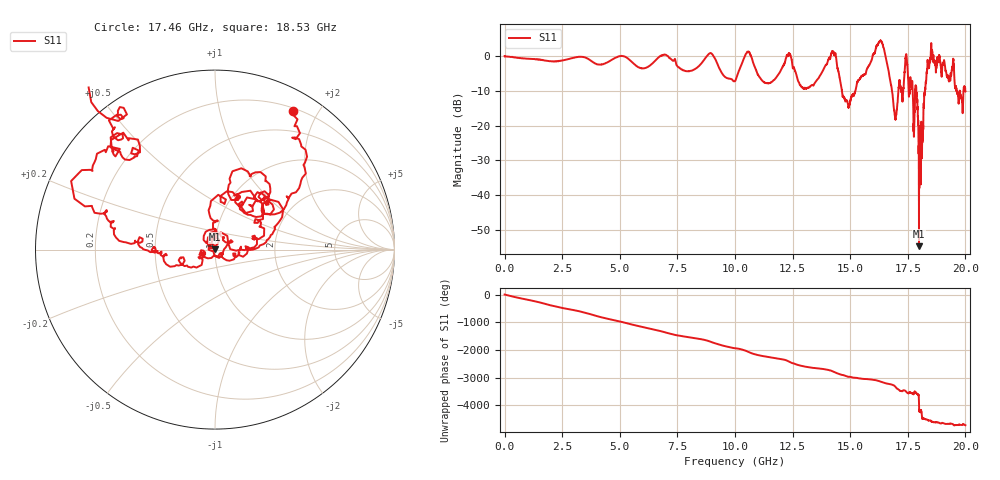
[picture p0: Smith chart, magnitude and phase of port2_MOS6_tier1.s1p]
! Created with skrf 1.8.0 (http://scikit-rf.org).
# GHz S RI R 50.0
!freq ReS11 ImS11
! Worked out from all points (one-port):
!   10000 points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, 3 MHz to 20 GHz, reference 50 ohm
!   lowest |S11| = -54.7 dB at 17.99 GHz (marker M1), VSWR 1.00, Z = 50.1 + j0.175 ohm
!   |S11| at or under -10 dB: 14.64 GHz to 15.23 GHz (583.7 MHz wide, 3.91 % of centre); 16.82 GHz to 17.09 GHz (275.7 MHz wide, 1.63 % of centre); 17.87 GHz to 18.24 GHz (373.6 MHz wide, 2.07 % of centre) (the widest 3 of 18)
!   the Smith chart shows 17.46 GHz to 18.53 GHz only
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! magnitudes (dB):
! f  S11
! 3 MHz  0.0
! 2.503 GHz  -1.2
! 5.003 GHz  0.1
! 7.503 GHz  -2.9
! 8.131 GHz  -4.1
! 8.947 GHz  0.9
! 10 GHz  -7.2
! 10.55 GHz  1.3
! 11.36 GHz  -7.8
! 12.3 GHz  0.2
! 12.5 GHz  -3.1
! 13.14 GHz  -9.1
! 14.28 GHz  1.2
! 14.71 GHz  -11.6
! 15 GHz  -12.8
! 16.28 GHz  4.3
! 16.54 GHz  -0.1
! 16.95 GHz  -18.0
! 17.4 GHz  -0.6
! 17.5 GHz  -4.7
! 17.88 GHz  -11.5
! 17.99 GHz  -54.7
! 18.07 GHz  -27.1
! 18.3 GHz  -6.3
! 18.54 GHz  1.7
! 19.44 GHz  -3.2
! 19.8 GHz  -11.3
! 20 GHz  -10.1
